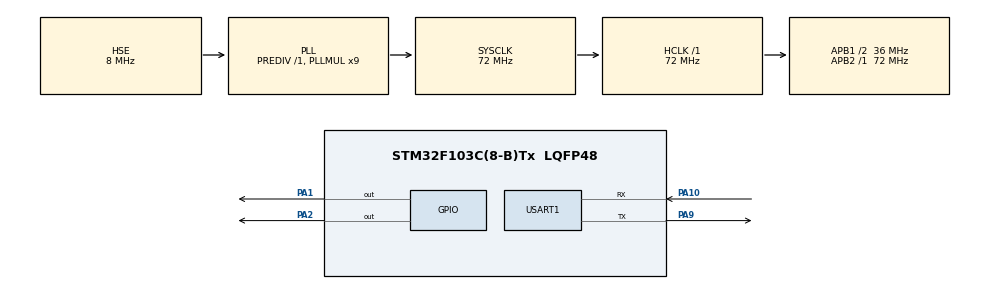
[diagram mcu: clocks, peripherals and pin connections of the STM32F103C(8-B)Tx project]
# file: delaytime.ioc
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Mcu.Family=STM32F1
Mcu.Name=STM32F103C(8-B)Tx
Mcu.Package=LQFP48
NVIC.PriorityGroup=NVIC_PRIORITYGROUP_4
NVIC.TIM4_IRQn=true\:4\:0\:true\:false\:true\:false\:true\:true
NVIC.TimeBase=TIM4_IRQn
NVIC.TimeBaseIP=TIM4
PA1.Signal=GPIO_Output
PA10.Mode=Asynchronous
PA10.Signal=USART1_RX
PA13.Mode=Serial_Wire
PA13.Signal=SYS_JTMS-SWDIO
PA14.Mode=Serial_Wire
PA14.Signal=SYS_JTCK-SWCLK
PA2.Signal=GPIO_Output
PA9.Mode=Asynchronous
PA9.Signal=USART1_TX
PC14-OSC32_IN.Mode=LSE-External-Oscillator
PC14-OSC32_IN.Signal=RCC_OSC32_IN
PC15-OSC32_OUT.Mode=LSE-External-Oscillator
PC15-OSC32_OUT.Signal=RCC_OSC32_OUT
PD0-OSC_IN.Mode=HSE-External-Oscillator
PD0-OSC_IN.Signal=RCC_OSC_IN
PD1-OSC_OUT.Mode=HSE-External-Oscillator
PD1-OSC_OUT.Signal=RCC_OSC_OUT
ProjectManager.HeapSize=0x200
ProjectManager.StackSize=0x400
ProjectManager.TargetToolchain=CMake
RCC.AHBFreq_Value=72000000
RCC.APB1CLKDivider=RCC_HCLK_DIV2
RCC.APB1Freq_Value=36000000
RCC.APB1TimFreq_Value=72000000
RCC.APB2Freq_Value=72000000
RCC.APB2TimFreq_Value=72000000
RCC.HCLKFreq_Value=72000000
RCC.PLLMUL=RCC_PLL_MUL9
RCC.PLLSourceVirtual=RCC_PLLSOURCE_HSE
RCC.SYSCLKFreq_VALUE=72000000
RCC.SYSCLKSource=RCC_SYSCLKSOURCE_PLLCLK
RCC.USBFreq_Value=72000000
USART1.VirtualMode=VM_ASYNC
VP_SYS_VS_tim4.Mode=TIM4
board=custom

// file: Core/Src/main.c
/* USER CODE BEGIN Header */
/**
  ******************************************************************************
  * @file           : main.c
  * @brief          : Main program body
  ******************************************************************************
  * @attention
  *
  * Copyright (c) 2026 STMicroelectronics.
  * All rights reserved.
  *
  * This software is licensed under terms that can be found in the LICENSE file
  * in the root directory of this software component.
  * If no LICENSE file comes with this software, it is provided AS-IS.
  *
  ******************************************************************************
  */
/* USER CODE END Header */
#include "main.h"
#include "usart.h"
#include "gpio.h"

/* USER CODE BEGIN Includes */
#include "FreeRTOS.h"
#include "portmacro.h"
#include "projdefs.h"
#include "stm32f103xb.h"
#include "stm32f1xx_hal.h"
#include "stm32f1xx_hal_gpio.h"
#include "task.h"
#include <stdio.h>
#include <string.h>
/* USER CODE END Includes */

/* USER CODE BEGIN PV */
TaskHandle_t task1_handle = NULL;
TaskHandle_t task2_handle = NULL;
TaskHandle_t start_task_handler = NULL;
/* USER CODE END PV */

void SystemClock_Config(void);
/* USER CODE BEGIN PFP */
void FreeRTOS_Start(void);
void Start_Task(void *pvParameters);
void Task1(void *argument);
void Task2(void *argument);
/* USER CODE END PFP */

int main(void)
{

  /* MCU Configuration--------------------------------------------------------*/

  /* Reset of all peripherals, Initializes the Flash interface and the Systick. */
  HAL_Init();

  /* Configure the system clock */
  SystemClock_Config();

  /* Initialize all configured peripherals */
  MX_GPIO_Init();
  MX_USART1_UART_Init();
  /* USER CODE BEGIN 2 */
  FreeRTOS_Start();
  /* USER CODE END 2 */

  /* Infinite loop */
  while (1)
  {

  }
}

void SystemClock_Config(void)
{
  RCC_OscInitTypeDef RCC_OscInitStruct = {0};
  RCC_ClkInitTypeDef RCC_ClkInitStruct = {0};

  /** Initializes the RCC Oscillators according to the specified parameters
  * in the RCC_OscInitTypeDef structure.
  */
  RCC_OscInitStruct.OscillatorType = RCC_OSCILLATORTYPE_HSE;
  RCC_OscInitStruct.HSEState = RCC_HSE_ON;
  RCC_OscInitStruct.HSEPredivValue = RCC_HSE_PREDIV_DIV1;
  RCC_OscInitStruct.HSIState = RCC_HSI_ON;
  RCC_OscInitStruct.PLL.PLLState = RCC_PLL_ON;
  RCC_OscInitStruct.PLL.PLLSource = RCC_PLLSOURCE_HSE;
  RCC_OscInitStruct.PLL.PLLMUL = RCC_PLL_MUL9;
  if (HAL_RCC_OscConfig(&RCC_OscInitStruct) != HAL_OK)
  {
    Error_Handler();
  }

  /** Initializes the CPU, AHB and APB buses clocks
  */
  RCC_ClkInitStruct.ClockType = RCC_CLOCKTYPE_HCLK|RCC_CLOCKTYPE_SYSCLK
                              |RCC_CLOCKTYPE_PCLK1|RCC_CLOCKTYPE_PCLK2;
  RCC_ClkInitStruct.SYSCLKSource = RCC_SYSCLKSOURCE_PLLCLK;
  RCC_ClkInitStruct.AHBCLKDivider = RCC_SYSCLK_DIV1;
  RCC_ClkInitStruct.APB1CLKDivider = RCC_HCLK_DIV2;
  RCC_ClkInitStruct.APB2CLKDivider = RCC_HCLK_DIV1;

  if (HAL_RCC_ClockConfig(&RCC_ClkInitStruct, FLASH_LATENCY_2) != HAL_OK)
  {
    Error_Handler();
  }
}

/* USER CODE BEGIN 4 */
int __io_putchar(int ch)
{
    uint8_t data = (uint8_t)ch;
    HAL_UART_Transmit(&huart1, &data, 1, HAL_MAX_DELAY);
    return ch;
}

void FreeRTOS_Start(void)
{
    xTaskCreate(Start_Task, "Start_Task", 256, NULL, 1, &start_task_handler);
    vTaskStartScheduler();
}

void Start_Task(void * pvParameters)
{
    taskENTER_CRITICAL();               /* 進入臨界區 */

    xTaskCreate(Task1, "Task1", 128, NULL, 2, &task1_handle);
    xTaskCreate(Task2, "Task2", 128, NULL, 3, &task2_handle);

    vTaskDelete(NULL);
    taskEXIT_CRITICAL();                /* 退出臨界區 */
}

// 實現相對時間延遲 500 ms
void Task1(void *argument)
{
    for (;;)
    {
        HAL_GPIO_TogglePin(GPIOA, GPIO_PIN_1);
        HAL_Delay(20);
        vTaskDelay(pdMS_TO_TICKS(500));
    }
}

// 實現固定週期延遲 500 ms
void Task2(void *argument)
{
    TickType_t xLastWakeTime;
    xLastWakeTime = xTaskGetTickCount();

    for (;;)
    {
        HAL_GPIO_TogglePin(GPIOA, GPIO_PIN_2);
        HAL_Delay(20);
        xTaskDelayUntil(&xLastWakeTime, pdMS_TO_TICKS(500));
    }
}

/* USER CODE END 4 */

void HAL_TIM_PeriodElapsedCallback(TIM_HandleTypeDef *htim)
{
  if (htim->Instance == TIM4)
  {
    HAL_IncTick();
  }
}

void Error_Handler(void)
{
  __disable_irq();
  while (1)
  {
  }
}
